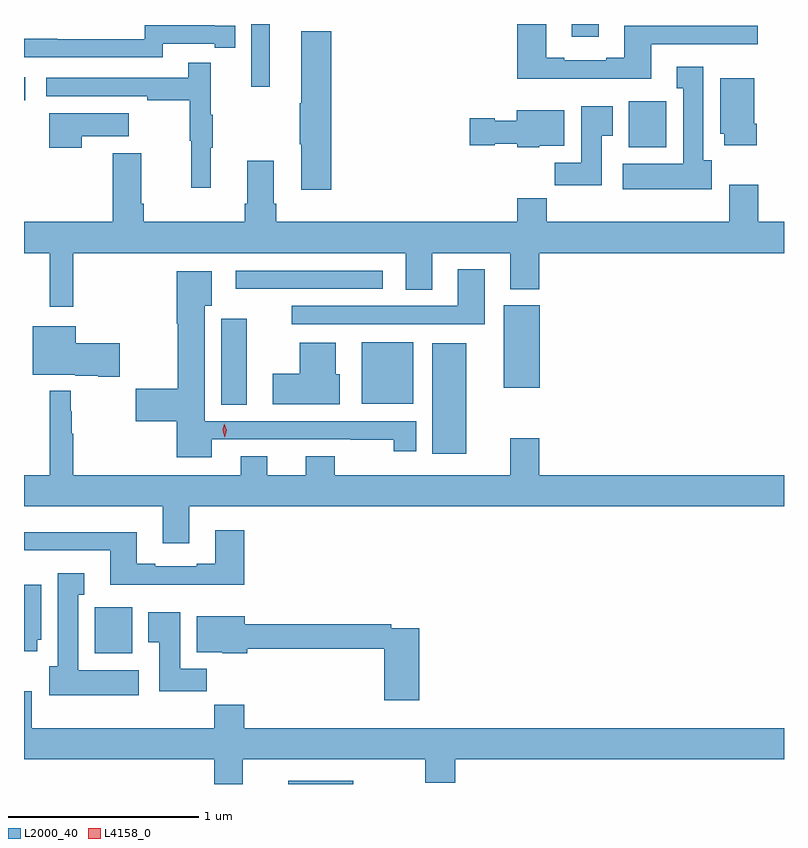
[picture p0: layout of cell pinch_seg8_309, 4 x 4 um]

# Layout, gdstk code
import gdstk
lib = gdstk.Library(unit=1e-6, precision=1e-09)
def R(c, l, rs):  # rectangles x0, y0, x1, y1
    for r in rs: c.add(gdstk.rectangle(r[:2], r[2:], *l))
def P(c, l, *ps):  # polygons
    for p in ps: c.add(gdstk.Polygon(p, *l))
L2000_40 = (2000, 40)
L4158_0 = (4158, 0)

pinch_seg8_309 = lib.new_cell('pinch_seg8_309')
R(pinch_seg8_309, L2000_40, [(593.507,1131.022,593.851,1131.04), (592.49,1131.71,592.687,1131.952), (594.266,1132.76,594.445,1133.341), (593.156,1133.017,593.29,1133.47), (593.894,1133.024,594.166,1133.347), (594.641,1133.108,594.832,1133.542), (593.232,1133.628,594.004,1133.724), (595.301,1134.374,595.498,1134.616), (592.117,1134.621,592.123,1134.742), (593.313,1134.693,593.41,1135.022), (595.001,1134.954,595.141,1135.022)])
P(pinch_seg8_309, L2000_40, [(595.417,1134.915),(595.978,1134.915),(595.978,1135.012),(595.277,1135.012),(595.277,1134.844),(595.181,1134.844),(595.181,1134.831),(594.961,1134.831),(594.961,1134.844),(594.865,1134.844),(594.865,1135.021),(594.713,1135.021),(594.713,1134.734),(595.417,1134.734)],
  [(592.848,1134.918),(593.12,1134.918),(593.12,1134.898),(593.228,1134.898),(593.228,1135.014),(593.12,1135.014),(593.12,1135.015),(592.752,1135.015),(592.752,1134.942),(592.292,1134.942),(592.292,1134.944),(592.117,1134.944),(592.117,1134.846),(592.848,1134.846)],
  [(593.735,1134.985),(593.576,1134.985),(593.576,1134.605),(593.569,1134.605),(593.569,1134.388),(593.576,1134.388),(593.576,1134.15),(593.735,1134.15)],
  [(593.099,1134.371),(593.11,1134.371),(593.11,1134.545),(593.099,1134.545),(593.099,1134.817),(592.981,1134.817),(592.981,1134.738),(592.233,1134.738),(592.233,1134.642),(592.765,1134.642),(592.765,1134.622),(592.989,1134.622),(592.989,1134.408),(592.996,1134.408),(592.996,1134.159),(593.099,1134.159)],
  [(595.738,1134.306),(595.693,1134.306),(595.693,1134.796),(595.553,1134.796),(595.553,1134.683),(595.586,1134.683),(595.586,1134.286),(595.269,1134.286),(595.269,1134.152),(595.738,1134.152)],
  [(595.973,1134.496),(595.96,1134.496),(595.96,1134.736),(595.781,1134.736),(595.781,1134.444),(595.802,1134.444),(595.802,1134.384),(595.973,1134.384)],
  [(595.159,1134.433),(595.216,1134.433),(595.216,1134.589),(595.049,1134.589),(595.049,1134.292),(594.91,1134.292),(594.91,1134.174),(595.159,1134.174)],
  [(594.828,1134.38),(594.961,1134.38),(594.961,1134.568),(594.71,1134.568),(594.71,1134.514),(594.594,1134.514),(594.594,1134.527),(594.462,1134.527),(594.462,1134.385),(594.594,1134.385),(594.594,1134.392),(594.714,1134.392),(594.714,1134.374),(594.828,1134.374)],
  [(592.421,1134.431),(592.669,1134.431),(592.669,1134.553),(592.25,1134.553),(592.25,1134.372),(592.421,1134.372)],
  [(592.375,1133.816),(594.125,1133.816),(594.125,1133.623),(594.265,1133.623),(594.265,1133.816),(594.677,1133.816),(594.677,1133.627),(594.83,1133.627),(594.83,1133.816),(596.117,1133.816),(596.117,1133.98),(595.982,1133.98),(595.982,1134.175),(595.829,1134.175),(595.829,1133.98),(594.869,1133.98),(594.869,1134.104),(594.713,1134.104),(594.713,1133.98),(593.444,1133.98),(593.444,1134.076),(593.431,1134.076),(593.431,1134.301),(593.291,1134.301),(593.291,1134.076),(593.279,1134.076),(593.279,1133.98),(592.748,1133.98),(592.748,1134.076),(592.735,1134.076),(592.735,1134.343),(592.583,1134.343),(592.583,1133.98),(592.117,1133.98),(592.117,1133.816),(592.253,1133.816),(592.253,1133.535),(592.375,1133.535)],
  [(594.541,1133.731),(594.401,1133.731),(594.401,1133.538),(593.526,1133.538),(593.526,1133.442),(594.541,1133.442)],
  [(593.104,1132.836),(593.836,1132.836),(593.836,1132.835),(594.064,1132.835),(594.064,1132.773),(594.181,1132.773),(594.181,1132.932),(593.068,1132.932),(593.068,1133.54),(593.104,1133.54),(593.104,1133.722),(592.922,1133.722),(592.922,1133.444),(592.927,1133.444),(592.927,1133.102),(592.704,1133.102),(592.704,1132.931),(592.922,1132.931),(592.922,1132.742),(593.104,1132.742)],
  [(592.621,1133.343),(592.39,1133.343),(592.39,1133.431),(592.163,1133.431),(592.163,1133.177),(592.386,1133.177),(592.386,1133.17),(592.508,1133.17),(592.508,1133.165),(592.621,1133.165)],
  [(593.779,1133.178),(593.758,1133.178),(593.758,1133.344),(593.567,1133.344),(593.567,1133.182),(593.427,1133.182),(593.427,1133.021),(593.779,1133.021)],
  [(592.987,1132.484),(596.117,1132.484),(596.117,1132.648),(594.83,1132.648),(594.83,1132.843),(594.677,1132.843),(594.677,1132.648),(593.753,1132.648),(593.753,1132.747),(593.6,1132.747),(593.6,1132.648),(593.398,1132.648),(593.398,1132.747),(593.258,1132.747),(593.258,1132.648),(592.375,1132.648),(592.375,1132.865),(592.367,1132.865),(592.367,1132.985),(592.363,1132.985),(592.363,1133.092),(592.253,1133.092),(592.253,1132.648),(592.117,1132.648),(592.117,1132.484),(592.847,1132.484),(592.847,1132.29),(592.987,1132.29)],
  [(593.276,1132.357),(593.123,1132.357),(593.123,1132.18),(593.027,1132.18),(593.027,1132.167),(592.807,1132.167),(592.807,1132.18),(592.711,1132.18),(592.711,1132.348),(592.117,1132.348),(592.117,1132.251),(592.571,1132.251),(592.571,1132.07),(593.276,1132.07)],
  [(592.72,1131.622),(592.402,1131.622),(592.402,1132.019),(592.435,1132.019),(592.435,1132.132),(592.295,1132.132),(592.295,1131.642),(592.25,1131.642),(592.25,1131.488),(592.72,1131.488)],
  [(592.186,1131.78),(592.207,1131.78),(592.207,1132.072),(592.117,1132.072),(592.117,1131.72),(592.186,1131.72)],
  [(593.078,1131.628),(592.939,1131.628),(592.939,1131.925),(592.772,1131.925),(592.772,1131.769),(592.829,1131.769),(592.829,1131.51),(593.078,1131.51)],
  [(594.197,1131.843),(594.05,1131.843),(594.05,1131.863),(593.278,1131.863),(593.278,1131.904),(593.027,1131.904),(593.027,1131.716),(593.16,1131.716),(593.16,1131.71),(593.291,1131.71),(593.291,1131.735),(594.014,1131.735),(594.014,1131.462),(594.197,1131.462)],
  [(593.269,1131.152),(594.229,1131.152),(594.229,1131.028),(594.386,1131.028),(594.386,1131.152),(596.117,1131.152),(596.117,1131.316),(593.276,1131.316),(593.276,1131.44),(593.119,1131.44),(593.119,1131.316),(592.159,1131.316),(592.159,1131.511),(592.117,1131.511),(592.117,1131.152),(593.117,1131.152),(593.117,1131.022),(593.269,1131.022)])
P(pinch_seg8_309, L4158_0, [(593.173,1132.847),(593.173,1132.847),(593.163,1132.883),(593.172,1132.919),(593.172,1132.919),(593.172,1132.919),(593.183,1132.883),(593.174,1132.847)])

lib.write_gds('pinch_seg8_309.gds')
